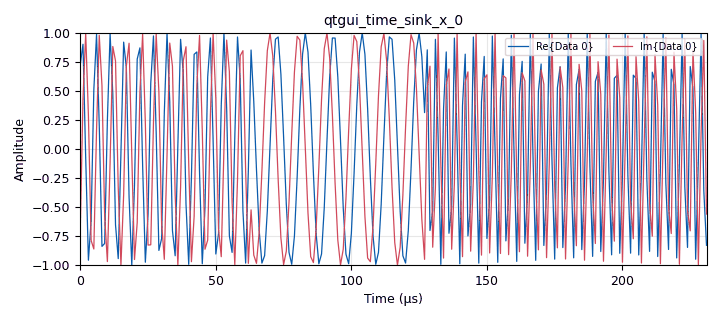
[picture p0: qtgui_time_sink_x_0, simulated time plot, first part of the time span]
<?xml version='1.0' encoding='utf-8'?>
<?grc format='1' created='3.7.13'?>
<flow_graph>
<block>
<key>options</key>
<param><key>id</key><value>top_block</value></param>
<param><key>generate_options</key><value>qt_gui</value></param>
</block>
<block>
<key>variable</key>
<param><key>id</key><value>samp_rate</value></param>
<param><key>value</key><value>1e6</value></param>
</block>
<block>
<key>analog_frequency_modulator_fc</key>
<param><key>id</key><value>analog_frequency_modulator_fc_0</value></param>
<param><key>sensitivity</key><value>0.6</value></param>
</block>
<block>
<key>analog_random_source_x</key>
<param><key>id</key><value>analog_random_source_x_0</value></param>
<param><key>max</key><value>256</value></param>
<param><key>min</key><value>0</value></param>
<param><key>num_samps</key><value>1000</value></param>
<param><key>type</key><value>byte</value></param>
<param><key>repeat</key><value>True</value></param>
</block>
<block>
<key>blocks_char_to_float</key>
<param><key>id</key><value>blocks_char_to_float_0</value></param>
<param><key>scale</key><value>1</value></param>
</block>
<block>
<key>blocks_packed_to_unpacked_xx</key>
<param><key>id</key><value>blocks_packed_to_unpacked_xx_0</value></param>
<param><key>bits_per_chunk</key><value>2</value></param>
<param><key>endianness</key><value>gr.GR_MSB_FIRST</value></param>
<param><key>type</key><value>byte</value></param>
</block>
<block>
<key>blocks_repeat</key>
<param><key>id</key><value>blocks_repeat_0</value></param>
<param><key>interp</key><value>64</value></param>
<param><key>type</key><value>byte</value></param>
</block>
<block>
<key>digital_map_bb</key>
<param><key>id</key><value>digital_map_bb_0</value></param>
<param><key>map</key><value>[-1, 1]</value></param>
</block>
<block>
<key>qtgui_time_sink_x</key>
<param><key>id</key><value>qtgui_time_sink_x_0</value></param>
<param><key>color1</key><value>"blue"</value></param>
<param><key>label1</key><value></value></param>
<param><key>color2</key><value>"red"</value></param>
<param><key>label2</key><value></value></param>
<param><key>size</key><value>1024</value></param>
<param><key>srate</key><value>samp_rate</value></param>
<param><key>type</key><value>complex</value></param>
</block>
<connection><source_block_id>analog_frequency_modulator_fc_0</source_block_id><sink_block_id>qtgui_time_sink_x_0</sink_block_id><source_key>0</source_key><sink_key>0</sink_key></connection>
<connection><source_block_id>analog_random_source_x_0</source_block_id><sink_block_id>blocks_packed_to_unpacked_xx_0</sink_block_id><source_key>0</source_key><sink_key>0</sink_key></connection>
<connection><source_block_id>blocks_char_to_float_0</source_block_id><sink_block_id>analog_frequency_modulator_fc_0</sink_block_id><source_key>0</source_key><sink_key>0</sink_key></connection>
<connection><source_block_id>blocks_packed_to_unpacked_xx_0</source_block_id><sink_block_id>digital_map_bb_0</sink_block_id><source_key>0</source_key><sink_key>0</sink_key></connection>
<connection><source_block_id>blocks_repeat_0</source_block_id><sink_block_id>blocks_char_to_float_0</sink_block_id><source_key>0</source_key><sink_key>0</sink_key></connection>
<connection><source_block_id>digital_map_bb_0</source_block_id><sink_block_id>blocks_repeat_0</sink_block_id><source_key>0</source_key><sink_key>0</sink_key></connection>
</flow_graph>
